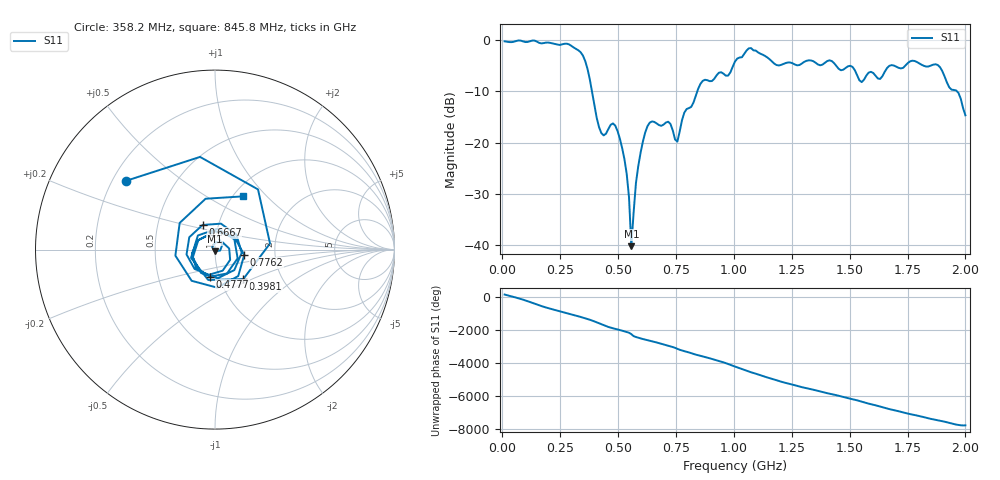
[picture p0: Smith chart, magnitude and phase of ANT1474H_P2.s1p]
!Created with skrf (http://scikit-rf.org).
# Hz S RI R 50.0
!freq ReS11 ImS11
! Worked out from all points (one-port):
!   201 points, 10 MHz to 2 GHz, reference 50 ohm
!   lowest |S11| = -40.2 dB at 557.2 MHz (marker M1), VSWR 1.02, Z = 49.9 - j0.961 ohm
!   |S11| at or under -10 dB: 387.2 MHz to 842 MHz (454.8 MHz wide, 74 % of centre); 1.964 GHz to end of sweep
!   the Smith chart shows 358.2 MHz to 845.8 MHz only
!   S11 on the Smith chart (normalised r, x): 358.2 MHz: 0.26, +0.32; 398.1 MHz: 1.29, -0.45; 477.6 MHz: 0.90, -0.28; 666.7 MHz: 0.84, +0.24; 776.1 MHz: 1.39, -0.08; 845.8 MHz: 1.11, +0.74
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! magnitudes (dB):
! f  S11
! 10 MHz  -0.2
! 258.8 MHz  -0.8
! 358.2 MHz  -4.1
! 398.1 MHz  -12.9
! 437.9 MHz  -18.6
! 477.6 MHz  -16.3
! 507.5 MHz  -19.2
! 537.4 MHz  -26.1
! 547.3 MHz  -30.7
! 557.2 MHz  -40.2
! 577.1 MHz  -27.9
! 607 MHz  -19.8
! 636.9 MHz  -16.1
! 666.7 MHz  -16.3
! 716.5 MHz  -15.9
! 756.2 MHz  -19.8
! 776.1 MHz  -15.6
! 845.8 MHz  -9.5
! 975.1 MHz  -6.9
! 1.005 GHz  -4.2
! 1.075 GHz  -1.5
! 1.254 GHz  -4.5
! 1.502 GHz  -5.0
! 1.552 GHz  -8.2
! 1.751 GHz  -4.5
! 1.881 GHz  -4.8
! 1.97 GHz  -10.3
! 2 GHz  -14.7
